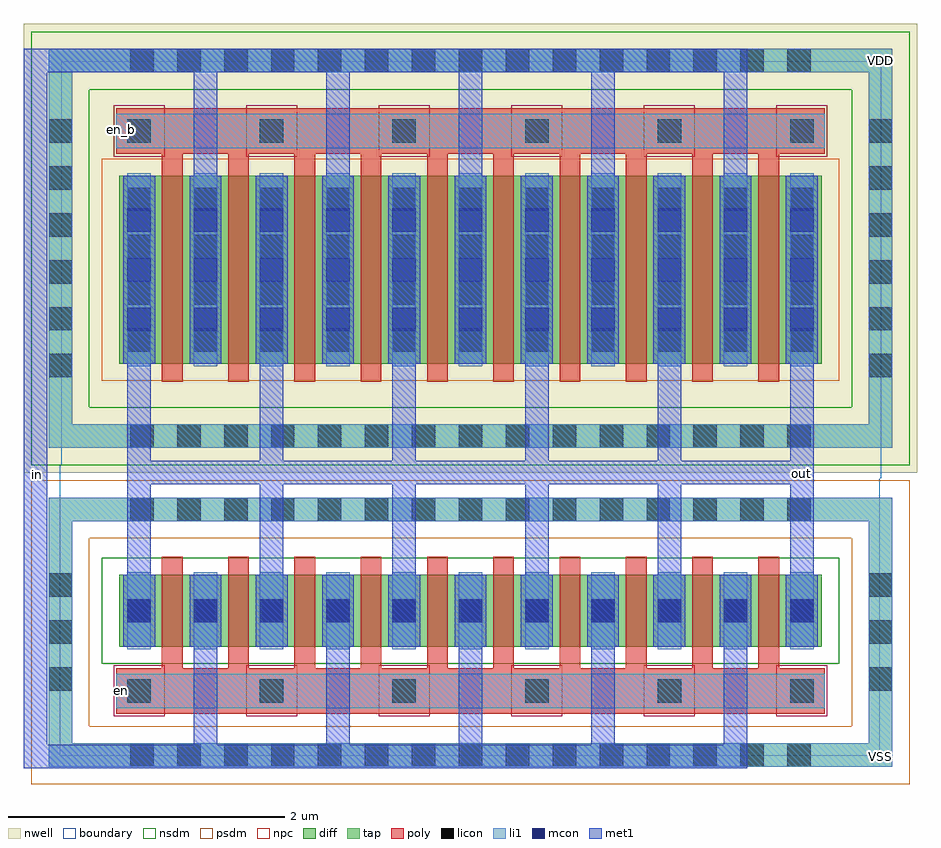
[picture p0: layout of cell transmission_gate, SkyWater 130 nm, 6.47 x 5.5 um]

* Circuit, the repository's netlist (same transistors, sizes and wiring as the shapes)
* transmission_gate
.subckt transmission_gate in out en en_b VDD VSS N=1 W_N=5.3 L_N=0.15 W_P=13.7 L_P=0.15
XM1 out en in VSS sky130_fd_pr__nfet_01v8 L=0.15 W=5.3 nf=10 ad='int((nf+1)/2) * W/nf * 0.29' as='int((nf+2)/2) * W/nf * 0.29'
+ pd='2*int((nf+1)/2) * (W/nf + 0.29)' ps='2*int((nf+2)/2) * (W/nf + 0.29)' nrd='0.29 / W' nrs='0.29 / W'
+ sa=0 sb=0 sd=0 mult='N' m='N' 
XM2 out en_b in VDD sky130_fd_pr__pfet_01v8 L=0.15 W=13.7 nf=10 ad='int((nf+1)/2) * W/nf * 0.29' as='int((nf+2)/2) * W/nf * 0.29'
+ pd='2*int((nf+1)/2) * (W/nf + 0.29)' ps='2*int((nf+2)/2) * (W/nf + 0.29)' nrd='0.29 / W' nrs='0.29 / W'
+ sa=0 sb=0 sd=0 mult='N' m='N' 
.ends

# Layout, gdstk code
from math import pi, radians
import gdstk
lib = gdstk.Library(unit=1e-6, precision=1e-09)
def R(c, l, rs):  # rectangles x0, y0, x1, y1
    for r in rs: c.add(gdstk.rectangle(r[:2], r[2:], *l))
def A(c, l, x, y, w, h, nx, ny, dx, dy):  # array of equal rectangles
    R(c, l, [(x+i*dx, y+j*dy, x+i*dx+w, y+j*dy+h) for i in range(nx) for j in range(ny)])
nwell = (64, 20)
diff = (65, 20)
tap = (65, 44)
poly = (66, 20)
licon = (66, 44)
li1 = (67, 20)
mcon = (67, 44)
met1 = (68, 20)
nsdm = (93, 44)
psdm = (94, 20)
npc = (95, 20)
boundary = (235, 4)

pmos_tgate = lib.new_cell('pmos_tgate')
R(pmos_tgate, nwell, [(-3.23,-1.78,3.24,1.47)])
R(pmos_tgate, diff, [(-2.54,-0.68,2.55,0.68)])
R(pmos_tgate, tap, [(-3.05,-1.6,3.06,-1.43), (-3.05,-1.43,-2.88,1.12), (2.89,-1.43,3.06,1.12), (-3.05,1.12,3.06,1.29)])
A(pmos_tgate, poly, -2.23, -0.84, 0.15, 1.65, 10, 1, 0.48, 0)
R(pmos_tgate, poly, [(-2.56,-1.17,2.57,-0.84)])
A(pmos_tgate, licon, -2.46, -1.6, 0.17, 0.17, 15, 2, 0.34, 2.72)
A(pmos_tgate, licon, -3.05, -1.09, 0.17, 0.17, 1, 6, 0, 0.34)
A(pmos_tgate, licon, -2.48, -1.09, 0.17, 0.17, 6, 1, 0.96, 0)
A(pmos_tgate, licon, 2.89, -1.09, 0.17, 0.17, 1, 6, 0, 0.34)
A(pmos_tgate, licon, -2.48, -0.595, 0.17, 0.17, 11, 4, 0.48, 0.34)
A(pmos_tgate, li1, -2.48, -0.7, 0.17, 1.4, 11, 1, 0.48, 0)
R(pmos_tgate, li1, [(-3.05,-1.6,3.06,-1.43), (-3.05,-1.43,-2.88,1.12), (2.89,-1.43,3.06,1.12), (-2.56,-1.13,2.57,-0.88), (-3.05,1.12,3.06,1.29)])
A(pmos_tgate, mcon, -2.48, -0.445, 0.17, 0.17, 11, 3, 0.48, 0.36)
A(pmos_tgate, met1, -2.51, -0.68, 0.23, 1.36, 11, 1, 0.48, 0)
R(pmos_tgate, nsdm, [(-3.175,-1.725,3.185,-1.305), (-3.175,-1.305,-2.755,0.995), (2.765,-1.305,3.185,0.995), (-3.175,0.995,3.185,1.415)])
R(pmos_tgate, psdm, [(-2.665,-0.805,2.675,0.805)])
A(pmos_tgate, npc, -2.58, -1.19, 0.37, 0.37, 6, 1, 0.96, 0)
R(pmos_tgate, boundary, [(-2.97,-1.51,2.97,1.51)])

nmos_tgate = lib.new_cell('nmos_tgate')
R(nmos_tgate, diff, [(-2.54,-0.26,2.55,0.26)])
R(nmos_tgate, tap, [(-3.05,-1.13,3.06,-0.96), (-3.05,-0.96,-2.88,0.65), (2.89,-0.96,3.06,0.65), (-3.05,0.65,3.06,0.82)])
A(nmos_tgate, poly, -2.23, -0.415, 0.15, 0.805, 10, 1, 0.48, 0)
R(nmos_tgate, poly, [(-2.56,-0.745,2.57,-0.415)])
A(nmos_tgate, licon, -2.46, -1.13, 0.17, 0.17, 15, 2, 0.34, 1.78)
A(nmos_tgate, licon, -2.48, -0.665, 0.17, 0.17, 6, 1, 0.96, 0)
A(nmos_tgate, licon, -3.05, -0.58, 0.17, 0.17, 1, 3, 0, 0.34)
A(nmos_tgate, licon, 2.89, -0.58, 0.17, 0.17, 1, 3, 0, 0.34)
A(nmos_tgate, licon, -2.48, -0.085, 0.17, 0.17, 11, 1, 0.48, 0)
A(nmos_tgate, li1, -2.48, -0.28, 0.17, 0.56, 11, 1, 0.48, 0)
R(nmos_tgate, li1, [(-3.05,-1.13,3.06,-0.96), (-3.05,-0.96,-2.88,0.65), (2.89,-0.96,3.06,0.65), (-2.56,-0.705,2.57,-0.455), (-3.05,0.65,3.06,0.82)])
A(nmos_tgate, mcon, -2.48, -0.085, 0.17, 0.17, 11, 1, 0.48, 0)
A(nmos_tgate, met1, -2.51, -0.26, 0.23, 0.52, 11, 1, 0.48, 0)
R(nmos_tgate, nsdm, [(-2.665,-0.385,2.675,0.385)])
R(nmos_tgate, psdm, [(-3.175,-1.255,3.185,-0.835), (-3.175,-0.835,-2.755,0.525), (2.765,-0.835,3.185,0.525), (-3.175,0.525,3.185,0.945)])
A(nmos_tgate, npc, -2.58, -0.765, 0.37, 0.37, 6, 1, 0.96, 0)
R(nmos_tgate, boundary, [(-2.97,-1.05,2.97,1.05)])

transmission_gate = lib.new_cell('transmission_gate')
R(transmission_gate, li1, [(5.855,-0.065,6.025,0.095), (0.405,0.36,0.485,0.61), (0.405,4.415,0.485,4.665), (5.855,4.965,6.025,5.135)])
A(transmission_gate, met1, 0.965, 0.095, 0.17, 0.805, 5, 2, 0.96, 4.065)
A(transmission_gate, met1, 0.485, 1.265, 0.17, 0.715, 6, 1, 0.96, 0)
A(transmission_gate, met1, 0.485, 2.15, 0.17, 0.89, 6, 1, 0.96, 0)
R(transmission_gate, met1, [(-0.265,-0.075,4.975,0.095), (-0.265,0.095,-0.095,4.965), (0.485,1.98,5.455,2.15), (-0.265,4.965,4.975,5.135)])
transmission_gate.add(gdstk.Reference(pmos_tgate, (2.975,3.535), rotation=pi))
transmission_gate.add(gdstk.Reference(nmos_tgate, (2.965,1.065)))
transmission_gate.add(gdstk.Label('in', (-0.17,2.05), layer=68, texttype=16))
transmission_gate.add(gdstk.Label('out', (5.37,2.06), layer=68, texttype=16))
transmission_gate.add(gdstk.Label('en', (0.44,0.49), layer=67, texttype=16))
transmission_gate.add(gdstk.Label('en_b', (0.44,4.55), layer=67, texttype=16))
transmission_gate.add(gdstk.Label('VDD', (5.94,5.05), layer=67, texttype=16))
transmission_gate.add(gdstk.Label('VSS', (5.94,0.01), layer=67, texttype=16))

lib.write_gds('transmission_gate.gds')
